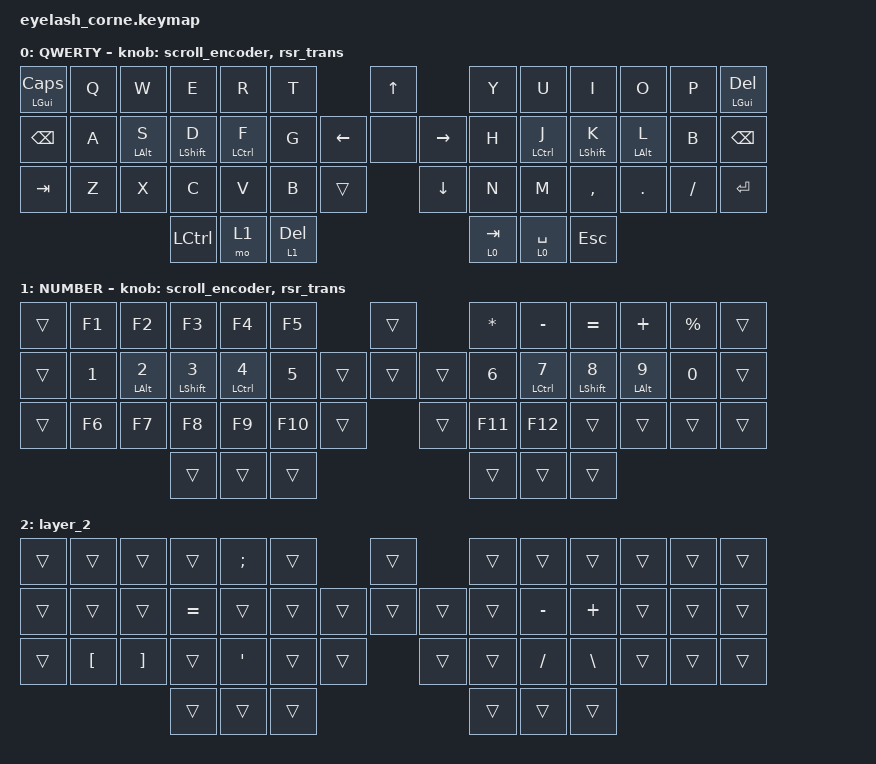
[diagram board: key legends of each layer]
#define ZMK_POINTING_DEFAULT_MOVE_VAL 1200  // 600
#define ZMK_POINTING_DEFAULT_SCRL_VAL 25   // 10

#include <input/processors.dtsi>
#include <zephyr/dt-bindings/input/input-event-codes.h>
#include <behaviors/runtime-sensor-rotate.dtsi>
#include <behaviors.dtsi>
#include <dt-bindings/zmk/keys.h>
#include <dt-bindings/zmk/pointing.h>
#include <dt-bindings/zmk/rgb.h>

&mmv_input_listener { input-processors = <&zip_xy_scaler 2 1>; };

&msc_input_listener { input-processors = <&zip_scroll_scaler 2 1>; };

&msc {
    acceleration-exponent = <1>;      // 0
    time-to-max-speed-ms = <100>;       // 300
    delay-ms = <0>;                   // 0
};

&mmv {
    time-to-max-speed-ms = <500>;
    acceleration-exponent = <1>;
    trigger-period-ms = <16>;
};

&soft_off { hold-time-ms = <2000>; };

&mt {
    flavor = "tap-unless-interrupted";
    tapping-term-ms = <250>;
    quick-tap-ms = <175>;
    require-prior-idle-ms = <150>;
};

/ {
    behaviors {
        td0: td0 {
            compatible = "zmk,behavior-tap-dance";
            display-name = "Shift/Caps Lock Tap Dance";
            #binding-cells = <0>;
            bindings = <&kp LEFT_SHIFT>, <&kp CAPS>;
        };
    };

    rgb_encoder: rgb_encoder {
        compatible = "zmk,behavior-sensor-rotate";
        #sensor-binding-cells = <0>;
        bindings = <&rgb_ug RGB_BRI>, <&rgb_ug RGB_BRD>;
    };

    scroll_encoder: scroll_encoder {
        compatible = "zmk,behavior-sensor-rotate";
        #sensor-binding-cells = <0>;
        bindings = <&msc SCRL_DOWN>, <&msc SCRL_UP>;

        tap-ms = <100>;
    };

    behaviors {
        rsr_vol: rsr_vol {
            compatible = "zmk,behavior-runtime-sensor-rotate";
            #sensor-binding-cells = <0>;
            tap-ms = <5>;
            cw-binding = <&kp C_VOL_UP>;
            ccw-binding = <&kp C_VOL_DN>;
        };

        rsr_trans: rsr_trans {
            compatible = "zmk,behavior-runtime-sensor-rotate";
            #sensor-binding-cells = <0>;
            tap-ms = <0>;
        };
    };

    combos {
        compatible = "zmk,combos";

        softoff {
            bindings = <&soft_off>;
            key-positions = <1 15 29>;
        };
    };

    keymap {
        compatible = "zmk,keymap";

        default_layer {
            display-name = "QWERTY";
            bindings = <
&mt LGUI CAPSLOCK  &kp Q  &kp W       &kp E         &kp R        &kp T                             &kp UP               &kp Y      &kp U        &kp I         &kp O       &kp P     &mt LGUI DELETE
&kp BACKSPACE      &kp A  &mt LALT S  &mt LSHIFT D  &mt LCTRL F  &kp G                   &kp LEFT  &none     &kp RIGHT  &kp H      &mt LCTRL J  &mt LSHIFT K  &mt LALT L  &kp B     &kp BACKSPACE
&kp TAB            &kp Z  &kp X       &kp C         &kp V        &kp B         &trans              &kp DOWN             &kp N      &kp M        &kp COMMA     &kp DOT     &kp FSLH  &kp ENTER
                                      &kp LCTRL     &mo 1        &lt 1 DELETE                                           &lt 0 TAB  &lt 0 SPACE  &kp ESCAPE
            >;

            sensor-bindings = <&scroll_encoder>, <&rsr_trans>;
        };

        layer_1 {
            display-name = "NUMBER";
            bindings = <
&trans  &kp F1        &kp F2             &kp F3               &kp F4              &kp F5                          &trans          &kp ASTERISK  &kp MINUS           &kp EQUAL            &kp PLUS           &kp PERCENT   &trans
&trans  &kp NUMBER_1  &mt LALT NUMBER_2  &mt LSHIFT NUMBER_3  &mt LCTRL NUMBER_4  &kp NUMBER_5            &trans  &trans  &trans  &kp NUMBER_6  &mt LCTRL NUMBER_7  &mt LSHIFT NUMBER_8  &mt LALT NUMBER_9  &kp NUMBER_0  &trans
&trans  &kp F6        &kp F7             &kp F8               &kp F9              &kp F10       &trans            &trans          &kp F11       &kp F12             &trans               &trans             &trans        &trans
                                         &trans               &trans              &trans                                          &trans        &trans              &trans
            >;

            sensor-bindings = <&scroll_encoder>, <&rsr_trans>;
        };

        layer_2 {
            bindings = <
&trans  &trans    &trans    &trans     &kp SEMI  &trans                    &trans          &trans  &trans     &trans    &trans  &trans  &trans
&trans  &trans    &trans    &kp EQUAL  &trans    &trans            &trans  &trans  &trans  &trans  &kp MINUS  &kp PLUS  &trans  &trans  &trans
&trans  &kp LBKT  &kp RBKT  &trans     &kp APOS  &trans  &trans            &trans          &trans  &kp FSLH   &kp BSLH  &trans  &trans  &trans
                            &trans     &trans    &trans                                    &trans  &trans     &trans
            >;
        };
    };
};
